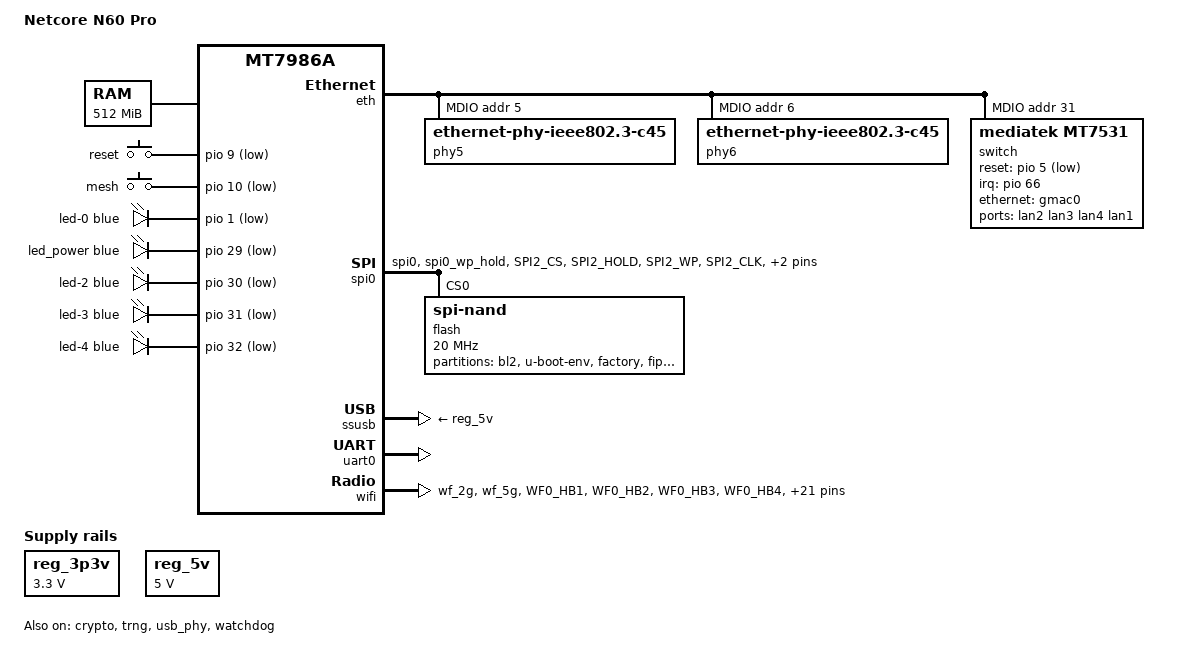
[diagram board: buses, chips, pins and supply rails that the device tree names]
// SPDX-License-Identifier: GPL-2.0-or-later OR MIT

/dts-v1/;
#include <dt-bindings/gpio/gpio.h>
#include <dt-bindings/input/input.h>
#include <dt-bindings/leds/common.h>
#include <dt-bindings/pinctrl/mt65xx.h>

#include "mt7986a.dtsi"

/ {
	model = "Netcore N60 Pro";
	compatible = "netcore,n60-pro", "mediatek,mt7986a";

	aliases {
		serial0 = &uart0;
		led-boot = &led_power;
		led-failsafe = &led_power;
		led-running = &led_power;
		led-upgrade = &led_power;
		label-mac-device = &gmac0;
	};

	chosen {
		bootargs = "root=/dev/fit0 rootwait";
		rootdisk = <&ubi_rootdisk>;
		stdout-path = "serial0:115200n8";
	};

	memory@40000000 {
		reg = <0 0x40000000 0 0x20000000>;
		device_type = "memory";
	};

	gpio-keys {
		compatible = "gpio-keys";

		button-reset {
			label = "reset";
			linux,code = <KEY_RESTART>;
			gpios = <&pio 9 GPIO_ACTIVE_LOW>;
		};

		button-mesh {
			label = "mesh";
			linux,code = <KEY_WPS_BUTTON>;
			gpios = <&pio 10 GPIO_ACTIVE_LOW>;
		};
	};

	gpio-leds {
		compatible = "gpio-leds";

		led-0 {
			color = <LED_COLOR_ID_BLUE>;
			function = LED_FUNCTION_WLAN;
			gpios = <&pio 1 GPIO_ACTIVE_LOW>;
			linux,default-trigger = "phy1tpt";
		};

		led_power: led-1 {
			color = <LED_COLOR_ID_BLUE>;
			function = LED_FUNCTION_POWER;
			gpios = <&pio 29 GPIO_ACTIVE_LOW>;
		};

		led-2 {
			color = <LED_COLOR_ID_BLUE>;
			function = LED_FUNCTION_USB;
			gpios = <&pio 30 GPIO_ACTIVE_LOW>;
		};

		led-3 {
			color = <LED_COLOR_ID_BLUE>;
			function = LED_FUNCTION_WPS;
			gpios = <&pio 31 GPIO_ACTIVE_LOW>;
		};

		led-4 {
			color = <LED_COLOR_ID_BLUE>;
			function = LED_FUNCTION_WAN;
			gpios = <&pio 32 GPIO_ACTIVE_LOW>;
		};
	};

	reg_3p3v: regulator-3p3v {
		compatible = "regulator-fixed";
		regulator-name = "fixed-3.3V";
		regulator-min-microvolt = <3300000>;
		regulator-max-microvolt = <3300000>;
		regulator-boot-on;
		regulator-always-on;
	};

	reg_5v: regulator-5v {
		compatible = "regulator-fixed";
		regulator-name = "fixed-5V";
		regulator-min-microvolt = <5000000>;
		regulator-max-microvolt = <5000000>;
		regulator-boot-on;
		regulator-always-on;
	};
};

&crypto {
	status = "okay";
};

&eth {
	status = "okay";

	gmac0: mac@0 {
		compatible = "mediatek,eth-mac";
		reg = <0>;
		phy-mode = "2500base-x";

		nvmem-cells = <&macaddr_factory_1fef20>;
		nvmem-cell-names = "mac-address";

		fixed-link {
			speed = <2500>;
			full-duplex;
			pause;
		};
	};

	gmac1: mac@1 {
		compatible = "mediatek,eth-mac";
		reg = <1>;
		phy-handle = <&phy6>;
		phy-mode = "2500base-x";

		nvmem-cells = <&macaddr_factory_1fef26>;
		nvmem-cell-names = "mac-address";
	};

	mdio: mdio-bus {
		#address-cells = <1>;
		#size-cells = <0>;
	};
};

&mdio {
	reset-delay-us = <600>;
	reset-post-delay-us = <20000>;
	reset-gpios = <&pio 6 GPIO_ACTIVE_LOW>;

	phy5: phy@5 {
		compatible = "ethernet-phy-ieee802.3-c45";
		reg = <5>;

		leds {
			#address-cells = <1>;
			#size-cells = <0>;

			led@3 {
				reg = <3>;
				color = <LED_COLOR_ID_GREEN>;
				function = LED_FUNCTION_LAN;
			};
		};
	};

	phy6: phy@6 {
		compatible = "ethernet-phy-ieee802.3-c45";
		reg = <6>;

		leds {
			#address-cells = <1>;
			#size-cells = <0>;

			led@3 {
				reg = <3>;
				color = <LED_COLOR_ID_GREEN>;
				function = LED_FUNCTION_WAN;
			};
		};
	};

	switch: switch@1f {
		compatible = "mediatek,mt7531";
		reg = <31>;
		reset-gpios = <&pio 5 GPIO_ACTIVE_LOW>;
		interrupt-controller;
		#interrupt-cells = <1>;
		interrupt-parent = <&pio>;
		interrupts = <66 IRQ_TYPE_LEVEL_HIGH>;
	};
};

&switch {
	ports {
		#address-cells = <1>;
		#size-cells = <0>;

		port@0 {
			reg = <0>;
			label = "lan2";
		};

		port@3 {
			reg = <3>;
			label = "lan3";
		};

		port@4 {
			reg = <4>;
			label = "lan4";
		};

		port@5 {
			reg = <5>;
			label = "lan1";
			phy-mode = "2500base-x";
			phy-handle = <&phy5>;
		};

		port@6 {
			reg = <6>;
			ethernet = <&gmac0>;
			phy-mode = "2500base-x";

			fixed-link {
				speed = <2500>;
				full-duplex;
				pause;
			};
		};
	};
};

&spi0 {
	pinctrl-names = "default";
	pinctrl-0 = <&spi_flash_pins>;
	status = "okay";

	flash@0 {
		compatible = "spi-nand";
		#address-cells = <1>;
		#size-cells = <1>;
		reg = <0>;

		spi-max-frequency = <20000000>;
		spi-tx-bus-width = <4>;
		spi-rx-bus-width = <4>;

		partitions {
			compatible = "fixed-partitions";
			#address-cells = <1>;
			#size-cells = <1>;

			partition@0 {
				label = "bl2";
				reg = <0x0 0x100000>;
				read-only;
			};

			partition@100000 {
				label = "u-boot-env";
				reg = <0x100000 0x80000>;
			};

			partition@180000 {
				label = "factory";
				reg = <0x180000 0x200000>;
				read-only;

				nvmem-layout {
					compatible = "fixed-layout";
					#address-cells = <1>;
					#size-cells = <1>;

					eeprom_factory_0: eeprom@0 {
						reg = <0x0 0x1000>;
					};

					macaddr_factory_1fef20: macaddr@1fef20 {
						reg = <0x1fef20 0x6>;
					};

					macaddr_factory_1fef26: macaddr@1fef26 {
						reg = <0x1fef26 0x6>;
					};
				};
			};

			partition@380000 {
				label = "fip";
				reg = <0x380000 0x200000>;
				read-only;
			};

			partition@580000 {
				label = "ubi";
				reg = <0x0580000 0x7a80000>;
				compatible = "linux,ubi";

				volumes {
					ubi_rootdisk: ubi-volume-fit {
						volname = "fit";
					};
				};
			};
		};
	};
};

&pio {
	spi_flash_pins: spi-flash-pins-33-to-38 {
		mux {
			function = "spi";
			groups = "spi0", "spi0_wp_hold";
		};
		conf-pu {
			pins = "SPI2_CS", "SPI2_HOLD", "SPI2_WP";
			drive-strength = <MTK_DRIVE_8mA>;
			bias-disable; /* bias-disable */
		};
		conf-pd {
			pins = "SPI2_CLK", "SPI2_MOSI", "SPI2_MISO";
			drive-strength = <MTK_DRIVE_8mA>;
			bias-disable; /* bias-disable */
		};
	};

	wf_2g_5g_pins: wf_2g_5g-pins {
		mux {
			function = "wifi";
			groups = "wf_2g", "wf_5g";
		};
		conf {
			pins = "WF0_HB1", "WF0_HB2", "WF0_HB3", "WF0_HB4",
			       "WF0_HB0", "WF0_HB0_B", "WF0_HB5", "WF0_HB6",
			       "WF0_HB7", "WF0_HB8", "WF0_HB9", "WF0_HB10",
			       "WF0_TOP_CLK", "WF0_TOP_DATA", "WF1_HB1",
			       "WF1_HB2", "WF1_HB3", "WF1_HB4", "WF1_HB0",
			       "WF1_HB5", "WF1_HB6", "WF1_HB7", "WF1_HB8",
			       "WF1_TOP_CLK", "WF1_TOP_DATA";
			drive-strength = <MTK_DRIVE_4mA>;
		};
	};
};

&ssusb {
	vusb33-supply = <&reg_3p3v>;
	vbus-supply = <&reg_5v>;
	status = "okay";
};

&trng {
	status = "okay";
};

&uart0 {
	status = "okay";
};

&usb_phy {
	status = "okay";
};

&watchdog {
	status = "okay";
};

&wifi {
	nvmem-cells = <&eeprom_factory_0>;
	nvmem-cell-names = "eeprom";
	pinctrl-names = "default";
	pinctrl-0 = <&wf_2g_5g_pins>;
	status = "okay";
};
